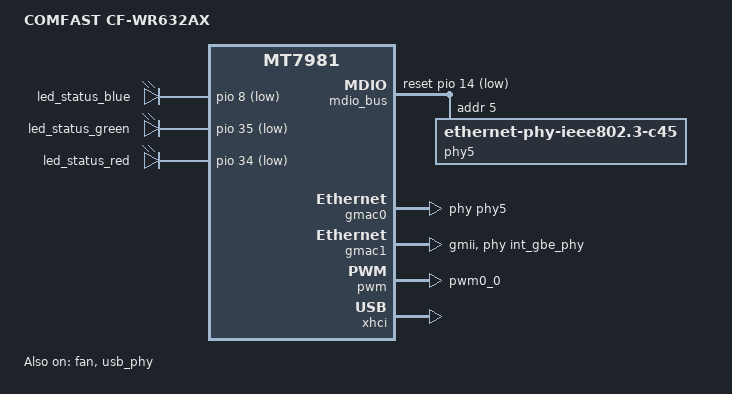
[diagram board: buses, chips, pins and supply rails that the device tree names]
// SPDX-License-Identifier: GPL-2.0-or-later OR MIT

/dts-v1/;
#include "mt7981b-comfast-common.dtsi"

/ {
	model = "COMFAST CF-WR632AX";
	compatible = "comfast,cf-wr632ax", "mediatek,mt7981";

	aliases {
		led-boot = &led_status_red;
		led-failsafe = &led_status_red;
		led-running = &led_status_blue;
		led-upgrade = &led_status_green;
	};
};

&led_status_blue {
	gpios = <&pio 8 GPIO_ACTIVE_LOW>;
};

&led_status_green {
	gpios = <&pio 35 GPIO_ACTIVE_LOW>;
};

&led_status_red {
	gpios = <&pio 34 GPIO_ACTIVE_LOW>;
};

&mdio_bus {
	reset-gpios = <&pio 14 GPIO_ACTIVE_LOW>;
	reset-delay-us = <600>;
	reset-post-delay-us = <20000>;

	phy5: phy@5 {
		compatible = "ethernet-phy-ieee802.3-c45";
		reg = <5>;
	};
};

&gmac0 {
	label = "wan";
	phy-handle = <&phy5>;
};

&eth {
	pinctrl-names = "default";
	pinctrl-0 = <&mdio_pins>;

	gmac1: mac@1 {
		compatible = "mediatek,eth-mac";
		reg = <1>;
		label = "lan";
		phy-mode = "gmii";
		phy-handle = <&int_gbe_phy>;

		nvmem-cell-names = "mac-address";
		nvmem-cells = <&macaddr_factory_e000 1>;
	};
};

&fan {
	pwms = <&pwm 0 10000>;
	status = "okay";
};

&pwm {
	pinctrl-names = "default";
	pinctrl-0 = <&pwm0_pin>;
	status = "okay";
};

&pio {
	pwm0_pin: pwm0-pin-g0 {
		mux {
		function = "pwm";
		groups = "pwm0_0";
		};
	};
};

&usb_phy {
	status = "okay";
};

&xhci {
	status = "okay";
};
